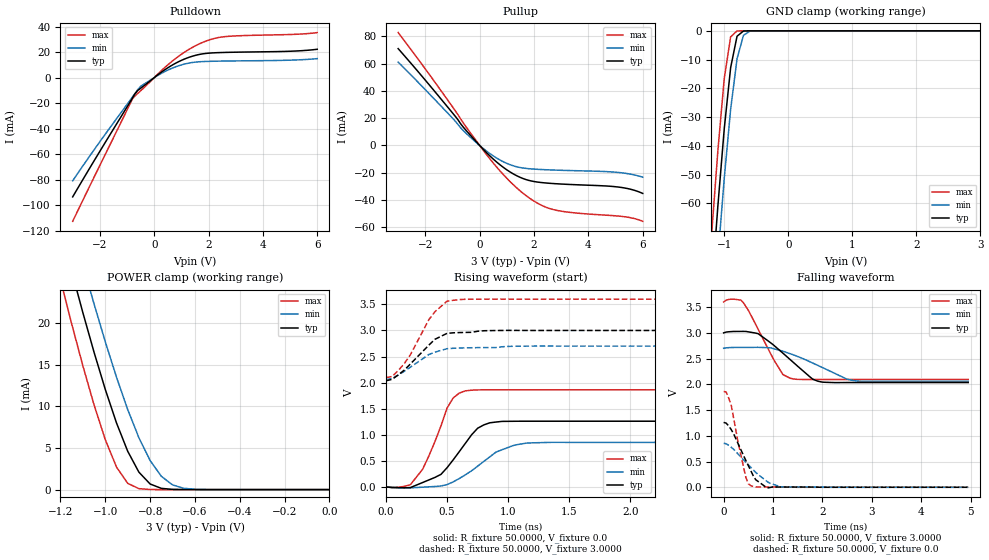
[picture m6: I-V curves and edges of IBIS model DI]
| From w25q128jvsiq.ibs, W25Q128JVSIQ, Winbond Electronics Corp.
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|   Model DI
[Model]  DI
Model_type I/O
Polarity   Non-Inverting
Enable   Active-High
Vinl =   0.9000V
Vinh =   2.1000V
Vmeas =  1.5000V
Cref =   30.0000pF
C_comp   1.5000pF   1.4500pF   1.5500pF
[Temperature Range]   25.0000   85.0000   -40.0000
[Voltage Range]   3.0000V   2.7000V   3.6000V
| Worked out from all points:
|   slope of the pulldown table from 0 to 0.45 V, typ, clamps not added: 63.8 ohm
|   slope of the pullup table from 0 to 0.45 V, typ, clamps not added: 49.8 ohm
|   GND clamp passes 1 mA (typ) near -0.75 V on its own axis
|   POWER clamp passes 1 mA (typ) near -0.81 V on its own axis
|   rising waveform, R_fixture 50.0000, V_fixture 0.0: 20-80 % time 249ps typ, 310ps min, 190ps max; typ from 0 V to 1.26 V
|   rising waveform, R_fixture 50.0000, V_fixture 3.0000: 20-80 % time 246ps typ, 258ps min, 222ps max; typ from 2.04 V to 3 V
|   falling waveform, R_fixture 50.0000, V_fixture 3.0000: 20-80 % time 696ps typ, 894ps min, 491ps max; typ from 3 V to 2.04 V
|   falling waveform, R_fixture 50.0000, V_fixture 0.0: 20-80 % time 368ps typ, 545ps min, 234ps max; typ from 1.26 V to 0 V
[Pulldown]
|   Voltage   I(typ)   I(min)   I(max)
-3V       -93.59mA   -80.93mA   -112.8mA
-2V       -57.8mA    -50.28mA   -68.87mA
-800mV    -15.96mA   -15.17mA   -16.57mA
-700mV    -12.38mA   -12.19mA   -14.18mA
-500mV    -8.303mA   -6.812mA   -10.29mA
300mV     4.879mA    3.795mA    6.234mA
800mV     11.49mA    8.62mA     15.25mA
1.6V      17.96mA    12.4mA     25.94mA
2V        19.24mA    12.82mA    29.46mA
2.4V      19.7mA     13mA       31.65mA
5V        20.76mA    13.75mA    33.9mA
6V        22.32mA    14.97mA    35.42mA
[Pullup]
|   Voltage   I(typ)   I(min)   I(max)
-3V       71.01mA    61.13mA    82.78mA
-1.7V     40.73mA    34.68mA    47.85mA
-600mV    13.39mA    10.88mA    16.44mA
100mV     -2.143mA   -1.687mA   -2.694mA
900mV     -16.46mA   -12.22mA   -21.98mA
1.3V      -21.51mA   -15.28mA   -29.95mA
1.7V      -24.95mA   -16.79mA   -36.65mA
2.3V      -27.22mA   -17.65mA   -44.05mA
2.8V      -28.02mA   -18.05mA   -47.41mA
5V        -30.23mA   -19.59mA   -51.56mA
5.5V      -31.82mA   -20.83mA   -52.75mA
6V        -35.14mA   -23.23mA   -55.57mA
[GND_clamp]
|   Voltage   I(typ)   I(min)   I(max)
-3V       -723.5mA   -736.8mA   -710.2mA
-1.2V     -91.15mA   -109.4mA   -71.73mA
-1.1V     -61.17mA   -79.28mA   -41.93mA
-1V       -34.16mA   -51.44mA   -16.66mA
-900mV    -12.82mA   -27.34mA   -2.103mA
-800mV    -1.887mA   -9.715mA   -37.77uA
-700mV    -82.19uA   -1.592mA   -367.7nA
-600mV    -2.282uA   -114.8uA   -3.379nA
3V        3.001pA    4.334pA    3pA
[POWER_clamp]
|   Voltage   I(typ)   I(min)   I(max)
-3V       243mA      242.2mA    244.2mA
-1.2V     31.39mA    36.99mA    25.21mA
-1.15V    26.24mA    31.95mA    19.92mA
-1.1V     21.25mA    27.04mA    14.87mA
-1.05V    16.49mA    22.29mA    10.17mA
-950mV    8.008mA    13.5mA     2.71mA
-900mV    4.607mA    9.614mA    753.9uA
-850mV    2.094mA    6.221mA    114.2uA
-800mV    673.7uA    3.493mA    12.1uA
-750mV    150.9uA    1.597mA    1.142uA
-650mV    4.351uA    158.1uA    9.471nA
0V        0A         0A         0A
[Ramp]
|variable   typ   min   max
dV/dt_r   0.5791/0.179n   0.3856/0.424n   0.903/0.173n
dV/dt_f   0.756/0.392n   0.512/0.532n   1.117/0.267n
R_load = 50.0000
[Rising Waveform]
R_fixture= 50.0000
V_fixture= 0.0
V_fixture_min= 0.0
V_fixture_max= 0.0
|   Time   V(typ)   V(min)   V(max)
0s        0V         0V         0V
200ps     -12.12mV   -17.65mV   43.23mV
300ps     84.67mV    -4.638mV   339.4mV
500ps     368.9mV    45.76mV    1.513V
550ps     519.5mV    96.56mV    1.706V
650ps     837.7mV    232.5mV    1.842V
800ps     1.189V     488.4mV    1.861V
900ps     1.244V     667.8mV    1.861V
1.15ns    1.26V      840.4mV    1.861V
4.95ns    1.26V      853.8mV    1.861V
[Rising Waveform]
R_fixture= 50.0000
V_fixture= 3.0000
V_fixture_min= 2.7000
V_fixture_max= 3.6000
|   Time   V(typ)   V(min)   V(max)
0s        2.035V     2.057V     2.095V
50ps      2.062V     2.08V      2.117V
150ps     2.24V      2.216V     2.365V
200ps     2.357V     2.296V     2.533V
350ps     2.716V     2.537V     3.203V
400ps     2.83V      2.584V     3.358V
500ps     2.945V     2.65V      3.562V
550ps     2.954V     2.659V     3.578V
1ns       3.001V     2.694V     3.6V
4.95ns    3V         2.7V       3.6V
[Falling Waveform]
R_fixture= 50.0000
V_fixture= 3.0000
V_fixture_min= 2.7000
V_fixture_max= 3.6000
|   Time   V(typ)   V(min)   V(max)
0s        3V         2.7V       3.6V
200ps     3.027V     2.716V     3.655V
400ps     3.029V     2.717V     3.585V
700ps     2.983V     2.719V     3.066V
1.2ns     2.605V     2.644V     2.189V
1.35ns    2.478V     2.593V     2.118V
1.8ns     2.103V     2.415V     2.094V
2ns       2.043V     2.326V     2.095V
2.7ns     2.035V     2.065V     2.095V
4.95ns    2.035V     2.057V     2.095V
[Falling Waveform]
R_fixture= 50.0000
V_fixture= 0.0
V_fixture_min= 0.0
V_fixture_max= 0.0
|   Time   V(typ)   V(min)   V(max)
0s        1.26V      853.8mV    1.861V
50ps      1.247V     846mV      1.853V
150ps     1.125V     779.9mV    1.609V
300ps     832mV      638.2mV    834.9mV
450ps     519mV      485.4mV    190.5mV
550ps     321.1mV    386.9mV    29.97mV
650ps     146.1mV    288.4mV    7.88mV
850ps     7.595mV    134.7mV    6.212mV
1.2ns     4.347mV    4.692mV    6.162mV
4.95ns    0V         0V         0V
